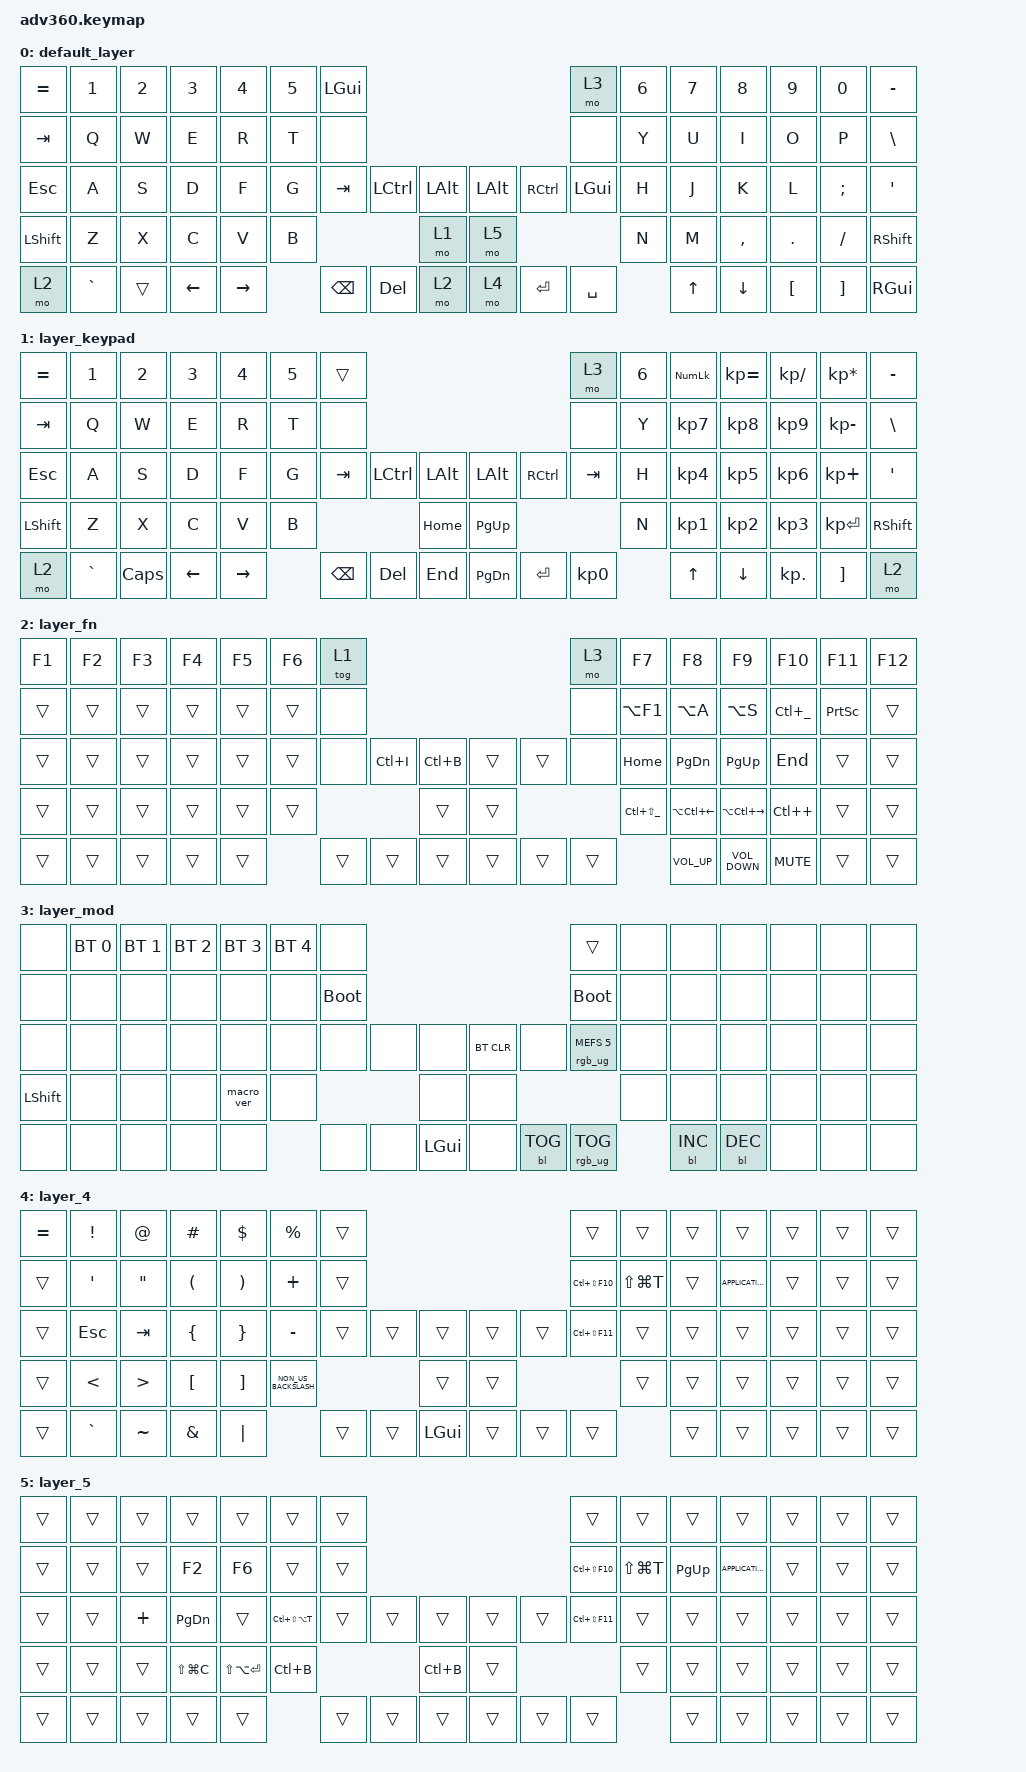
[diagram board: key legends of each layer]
/*
 * Copyright (c) 2020 The ZMK Contributors
 *
 * SPDX-License-Identifier: MIT
 */
/* THIS FILE WAS GENERATED!
 *
 * This file was generated automatically. You may or may not want to
 * edit it directly.
 */

#include <behaviors.dtsi>
#include <dt-bindings/zmk/backlight.h>
#include <dt-bindings/zmk/bt.h>
#include <dt-bindings/zmk/keys.h>
#include <dt-bindings/zmk/rgb.h>

/ {
    behaviors {
        #include "macros.dtsi"
    #include "version.dtsi"

        hm: homerow_mods {
            compatible = "zmk,behavior-hold-tap";
            label = "HOMEROW_MODS";
            #binding-cells = <2>;
            tapping-term-ms = <200>;
            quick_tap_ms = <175>;
            flavor = "tap-preferred";
            bindings = <&kp>, <&kp>;
        };
    };

    keymap {
        compatible = "zmk,keymap";

        default_layer {
            bindings = <
&kp EQUAL  &kp N1     &kp N2  &kp N3    &kp N4     &kp N5  &kp LEFT_GUI                                                    &mo 3         &kp N6  &kp N7  &kp N8     &kp N9    &kp N0    &kp MINUS
&kp TAB    &kp Q      &kp W   &kp E     &kp R      &kp T   &none                                                           &none         &kp Y   &kp U   &kp I      &kp O     &kp P     &kp BSLH
&kp ESC    &kp A      &kp S   &kp D     &kp F      &kp G   &kp TAB       &kp LCTRL  &kp LALT      &kp LEFT_ALT  &kp RCTRL  &kp LEFT_GUI  &kp H   &kp J   &kp K      &kp L     &kp SEMI  &kp SQT
&kp LSHFT  &kp Z      &kp X   &kp C     &kp V      &kp B                            &mo 1         &mo 5                                  &kp N   &kp M   &kp COMMA  &kp DOT   &kp FSLH  &kp RSHFT
&mo 2      &kp GRAVE  &trans  &kp LEFT  &kp RIGHT          &kp BSPC      &kp DEL    &mo 2         &mo 4         &kp ENTER  &kp SPACE             &kp UP  &kp DOWN   &kp LBKT  &kp RBKT  &kp RIGHT_GUI
            >;
        };

        layer_keypad {
            bindings = <
&kp EQUAL  &kp N1     &kp N2        &kp N3    &kp N4     &kp N5  &trans                                                       &mo 3      &kp N6  &kp KP_NUM  &kp KP_EQUAL  &kp KP_DIVIDE  &kp KP_MULTIPLY  &kp MINUS
&kp TAB    &kp Q      &kp W         &kp E     &kp R      &kp T   &none                                                        &none      &kp Y   &kp KP_N7   &kp KP_N8     &kp KP_N9      &kp KP_MINUS     &kp BSLH
&kp ESC    &kp A      &kp S         &kp D     &kp F      &kp G   &kp TAB   &kp LCTRL  &kp LALT      &kp LALT       &kp RCTRL  &kp TAB    &kp H   &kp KP_N4   &kp KP_N5     &kp KP_N6      &kp KP_PLUS      &kp SQT
&kp LSHFT  &kp Z      &kp X         &kp C     &kp V      &kp B                        &kp HOME      &kp PG_UP                            &kp N   &kp KP_N1   &kp KP_N2     &kp KP_N3      &kp KP_ENTER     &kp RSHFT
&mo 2      &kp GRAVE  &kp CAPSLOCK  &kp LEFT  &kp RIGHT          &kp BSPC  &kp DEL    &kp END       &kp PAGE_DOWN  &kp ENTER  &kp KP_N0          &kp UP      &kp DOWN      &kp KP_DOT     &kp RBKT         &mo 2
            >;
        };

        layer_fn {
            bindings = <
&kp F1  &kp F2  &kp F3  &kp F4  &kp F5  &kp F6  &tog 1                                            &mo 3   &kp F7                  &kp F8                  &kp F9             &kp F10             &kp F11          &kp F12
&trans  &trans  &trans  &trans  &trans  &trans  &none                                             &none   &kp LA(F1)              &kp LA(A)               &kp LA(S)          &kp LC(UNDERSCORE)  &kp PRINTSCREEN  &trans
&trans  &trans  &trans  &trans  &trans  &trans  &none   &kp LC(I)  &kp LC(B)      &trans  &trans  &none   &kp HOME                &kp PAGE_DOWN           &kp PAGE_UP        &kp END             &trans           &trans
&trans  &trans  &trans  &trans  &trans  &trans                     &trans         &trans                  &kp LC(LS(UNDERSCORE))  &kp LA(LC(LEFT_ARROW))  &kp LA(LC(RIGHT))  &kp LC(PLUS)        &trans           &trans
&trans  &trans  &trans  &trans  &trans          &trans  &trans     &trans         &trans  &trans  &trans                          &kp C_VOL_UP            &kp C_VOLUME_DOWN  &kp K_MUTE          &trans           &trans
            >;
        };

        layer_mod {
            bindings = <
&none           &bt BT_SEL 0  &bt BT_SEL 1  &bt BT_SEL 2  &bt BT_SEL 3  &bt BT_SEL 4  &none                                                         &trans                  &none  &none       &none       &none  &none  &none
&none           &none         &none         &none         &none         &none         &bootloader                                                   &bootloader             &none  &none       &none       &none  &none  &none
&none           &none         &none         &none         &none         &none         &none        &none  &none             &bt BT_CLR  &none       &rgb_ug RGB_MEFS_CMD 5  &none  &none       &none       &none  &none  &none
&kp LEFT_SHIFT  &none         &none         &none         &macro_ver    &none                             &none             &none                                           &none  &none       &none       &none  &none  &none
&none           &none         &none         &none         &none                       &none        &none  &kp LEFT_GUI      &none       &bl BL_TOG  &rgb_ug RGB_TOG                &bl BL_INC  &bl BL_DEC  &none  &none  &none
            >;
        };

        layer_4 {
            bindings = <
&kp EQUAL  &kp EXCLAMATION   &kp AT_SIGN        &kp HASH              &kp DOLLAR             &kp PERCENT           &trans                                            &trans           &trans         &trans  &trans             &trans  &trans  &trans
&trans     &kp SINGLE_QUOTE  &kp DOUBLE_QUOTES  &kp LEFT_PARENTHESIS  &kp RIGHT_PARENTHESIS  &kp PLUS              &trans                                            &kp LC(LS(F10))  &kp LS(LG(T))  &trans  &kp K_APPLICATION  &trans  &trans  &trans
&trans     &kp ESC           &kp TAB            &kp LEFT_BRACE        &kp RIGHT_BRACE        &kp MINUS             &trans  &trans  &trans            &trans  &trans  &kp LC(LS(F11))  &trans         &trans  &trans             &trans  &trans  &trans
&trans     &kp LESS_THAN     &kp GREATER_THAN   &kp LEFT_BRACKET      &kp RIGHT_BRACKET      &kp NON_US_BACKSLASH                  &trans            &trans                           &trans         &trans  &trans             &trans  &trans  &trans
&trans     &kp GRAVE         &kp TILDE          &kp AMPERSAND         &kp PIPE                                     &trans  &trans  &kp LEFT_GUI      &trans  &trans  &trans                          &trans  &trans             &trans  &trans  &trans
            >;
        };

        layer_5 {
            bindings = <
&trans  &trans  &trans    &trans         &trans             &trans             &trans                                         &trans           &trans         &trans       &trans             &trans  &trans  &trans
&trans  &trans  &trans    &kp F2         &kp F6             &trans             &trans                                         &kp LC(LS(F10))  &kp LS(LG(T))  &kp PAGE_UP  &kp K_APPLICATION  &trans  &trans  &trans
&trans  &trans  &kp PLUS  &kp PAGE_DOWN  &trans             &kp LC(LS(LA(T)))  &trans  &trans  &trans         &trans  &trans  &kp LC(LS(F11))  &trans         &trans       &trans             &trans  &trans  &trans
&trans  &trans  &trans    &kp LS(LG(C))  &kp LS(LA(ENTER))  &kp LC(B)                          &kp LC(B)      &trans                           &trans         &trans       &trans             &trans  &trans  &trans
&trans  &trans  &trans    &trans         &trans                                &trans  &trans  &trans         &trans  &trans  &trans                          &trans       &trans             &trans  &trans  &trans
            >;
        };
    };
};
